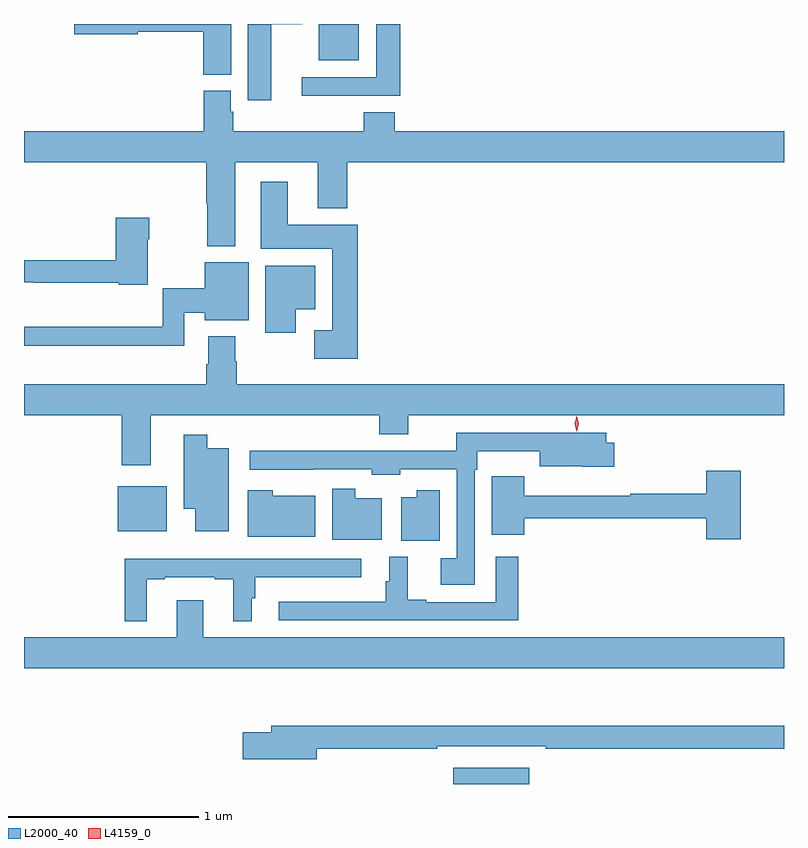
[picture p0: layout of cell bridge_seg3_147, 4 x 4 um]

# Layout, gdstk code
import gdstk
lib = gdstk.Library(unit=1e-6, precision=1e-09)
def R(c, l, rs):  # rectangles x0, y0, x1, y1
    for r in rs: c.add(gdstk.rectangle(r[:2], r[2:], *l))
def P(c, l, *ps):  # polygons
    for p in ps: c.add(gdstk.Polygon(p, *l))
L2000_40 = (2000, 40)
L4159_0 = (4159, 0)

bridge_seg3_147 = lib.new_cell('bridge_seg3_147')
R(bridge_seg3_147, L2000_40, [(611.552,694.98,611.953,695.065), (609.788,696.311,610.045,696.547), (610.844,698.789,611.056,698.98)])
P(bridge_seg3_147, L2000_40, [(610.384,698.98),(609.558,698.98),(609.558,698.927),(609.892,698.927),(609.892,698.939),(610.238,698.939),(610.238,698.713),(610.384,698.713)],
  [(611.273,698.98),(611.147,698.98),(611.147,698.7),(610.755,698.7),(610.755,698.603),(611.273,698.603)],
  [(610.594,698.978),(610.759,698.978),(610.759,698.98),(610.472,698.98),(610.472,698.58),(610.594,698.58)],
  [(610.405,698.252),(610.841,698.252),(610.841,698.009),(610.994,698.009),(610.994,698.252),(613.294,698.252),(613.294,698.416),(611.246,698.416),(611.246,698.515),(611.081,698.515),(611.081,698.416),(610.394,698.416),(610.394,698.517),(610.381,698.517),(610.381,698.628),(610.241,698.628),(610.241,698.416),(609.294,698.416),(609.294,698.252),(610.253,698.252),(610.253,698.037),(610.258,698.037),(610.258,697.811),(610.405,697.811)],
  [(611.051,697.924),(610.681,697.924),(610.681,698.149),(610.541,698.149),(610.541,697.796),(610.916,697.796),(610.916,697.369),(610.821,697.369),(610.821,697.217),(611.051,697.217)],
  [(609.945,697.847),(609.954,697.847),(609.954,697.96),(609.776,697.96),(609.776,697.736),(609.294,697.736),(609.294,697.62),(609.346,697.62),(609.346,697.618),(609.792,697.618),(609.792,697.608),(609.945,697.608)],
  [(610.137,697.461),(610.244,697.461),(610.244,697.421),(610.477,697.421),(610.477,697.726),(610.244,697.726),(610.244,697.588),(610.024,697.588),(610.024,697.386),(609.294,697.386),(609.294,697.286),(610.137,697.286)],
  [(610.723,697.478),(610.828,697.478),(610.828,697.708),(610.565,697.708),(610.565,697.356),(610.723,697.356)],
  [(609.961,696.92),(611.165,696.92),(611.165,696.821),(611.317,696.821),(611.317,696.92),(613.294,696.92),(613.294,697.084),(610.413,697.084),(610.413,697.205),(610.405,697.205),(610.405,697.336),(610.265,697.336),(610.265,697.19),(610.253,697.19),(610.253,697.084),(609.294,697.084),(609.294,696.92),(609.809,696.92),(609.809,696.657),(609.961,696.657)],
  [(611.667,696.635),(611.68,696.635),(611.68,696.731),(612.008,696.731),(612.008,696.653),(612.234,696.653),(612.234,696.65),(612.401,696.65),(612.401,696.775),(612.358,696.775),(612.358,696.829),(612.112,696.829),(612.112,696.828),(611.569,696.828),(611.569,696.734),(610.482,696.734),(610.482,696.635),(610.82,696.635),(610.82,696.636),(611.124,696.636),(611.124,696.608),(611.274,696.608),(611.274,696.636),(611.571,696.636),(611.571,696.169),(611.487,696.169),(611.487,696.029),(611.667,696.029)],
  [(610.372,696.748),(610.258,696.748),(610.258,696.817),(610.136,696.817),(610.136,696.428),(610.196,696.428),(610.196,696.311),(610.372,696.311)],
  [(613.067,696.628),(612.884,696.628),(612.884,696.508),(612.484,696.508),(612.484,696.496),(611.926,696.496),(611.926,696.601),(611.756,696.601),(611.756,696.293),(611.926,696.293),(611.926,696.379),(612.884,696.379),(612.884,696.267),(613.067,696.267)],
  [(611.176,696.484),(611.038,696.484),(611.038,696.535),(610.916,696.535),(610.916,696.266),(611.176,696.266)],
  [(610.828,696.496),(610.602,696.496),(610.602,696.526),(610.472,696.526),(610.472,696.281),(610.828,696.281)],
  [(611.482,696.526),(611.36,696.526),(611.36,696.49),(611.279,696.49),(611.279,696.26),(611.482,696.26)],
  [(611.894,696.175),(611.778,696.175),(611.778,695.937),(611.41,695.937),(611.41,695.95),(611.314,695.95),(611.314,696.175),(611.216,696.175),(611.216,696.048),(611.197,696.048),(611.197,695.938),(610.635,695.938),(610.635,695.841),(611.894,695.841)],
  [(609.94,696.057),(610.036,696.057),(610.036,696.069),(610.298,696.069),(610.298,696.057),(610.394,696.057),(610.394,695.837),(610.492,695.837),(610.492,695.958),(610.511,695.958),(610.511,696.068),(611.068,696.068),(611.068,696.165),(610.368,696.165),(610.368,696.166),(609.823,696.166),(609.823,695.837),(609.94,695.837)],
  [(613.294,695.752),(610.237,695.752),(610.237,695.947),(610.097,695.947),(610.097,695.752),(609.294,695.752),(609.294,695.588),(613.294,695.588)],
  [(610.834,695.166),(611.468,695.166),(611.468,695.178),(612.04,695.178),(612.04,695.166),(613.294,695.166),(613.294,695.287),(610.595,695.287),(610.595,695.253),(610.446,695.253),(610.446,695.111),(610.834,695.111)])
P(bridge_seg3_147, L4159_0, [(612.202,696.834),(612.193,696.875),(612.202,696.916),(612.203,696.916),(612.203,696.916),(612.213,696.875),(612.203,696.834),(612.203,696.834)])

lib.write_gds('bridge_seg3_147.gds')
